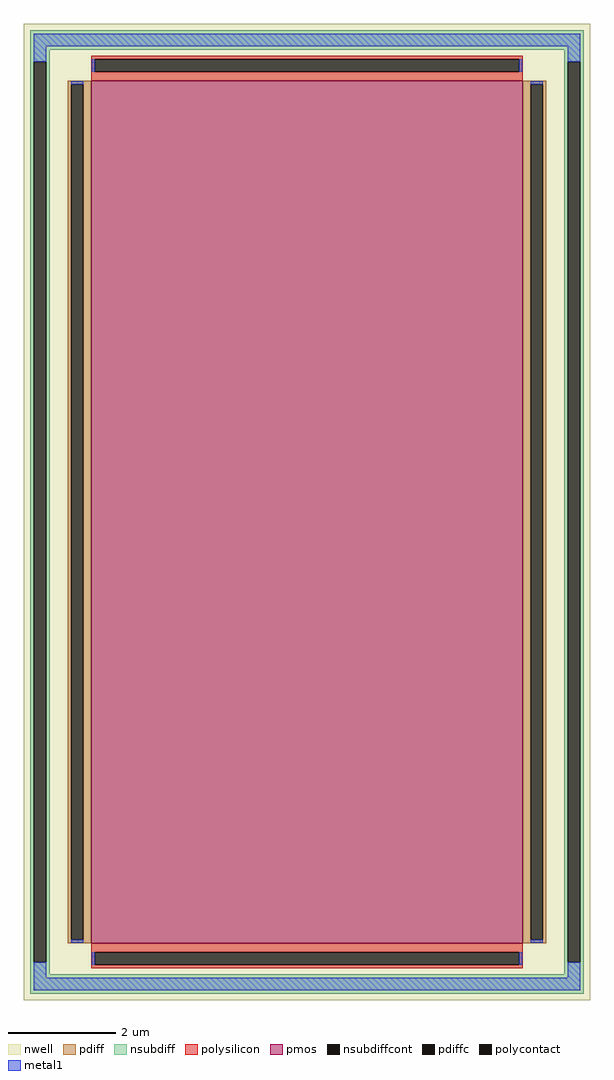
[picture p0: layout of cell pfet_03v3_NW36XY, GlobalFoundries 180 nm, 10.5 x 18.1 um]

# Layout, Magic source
magic
tech gf180mcuD
magscale 1 10
<< nwell >>
rect -1050 -1810 1050 1810
<< pmos >>
rect -800 -1600 800 1600
<< pdiff >>
rect -888 1587 -800 1600
rect -888 -1587 -875 1587
rect -829 -1587 -800 1587
rect -888 -1600 -800 -1587
rect 800 1587 888 1600
rect 800 -1587 829 1587
rect 875 -1587 888 1587
rect 800 -1600 888 -1587
<< pdiffc >>
rect -875 -1587 -829 1587
rect 829 -1587 875 1587
<< nsubdiff >>
rect -1026 1714 1026 1786
rect -1026 1670 -954 1714
rect -1026 -1670 -1013 1670
rect -967 -1670 -954 1670
rect 954 1670 1026 1714
rect -1026 -1714 -954 -1670
rect 954 -1670 967 1670
rect 1013 -1670 1026 1670
rect 954 -1714 1026 -1670
rect -1026 -1786 1026 -1714
<< nsubdiffcont >>
rect -1013 -1670 -967 1670
rect 967 -1670 1013 1670
<< polysilicon >>
rect -800 1679 800 1692
rect -800 1633 -787 1679
rect 787 1633 800 1679
rect -800 1600 800 1633
rect -800 -1633 800 -1600
rect -800 -1679 -787 -1633
rect 787 -1679 800 -1633
rect -800 -1692 800 -1679
<< polycontact >>
rect -787 1633 787 1679
rect -787 -1679 787 -1633
<< metal1 >>
rect -1013 1727 1013 1773
rect -1013 1670 -967 1727
rect -798 1633 -787 1679
rect 787 1633 798 1679
rect 967 1670 1013 1727
rect -875 1587 -829 1598
rect -875 -1598 -829 -1587
rect 829 1587 875 1598
rect 829 -1598 875 -1587
rect -1013 -1727 -967 -1670
rect -798 -1679 -787 -1633
rect 787 -1679 798 -1633
rect 967 -1727 1013 -1670
rect -1013 -1773 1013 -1727
<< properties >>
string FIXED_BBOX -990 -1750 990 1750
string gencell pfet_03v3
string library gf180mcu
string parameters w 16 l 8 m 1 nf 1 diffcov 100 polycov 100 guard 1 glc 1 grc 1 gtc 0 gbc 0 tbcov 100 rlcov 100 topc 1 botc 1 poverlap 0 doverlap 1 lmin 0.28 wmin 0.22 class mosfet full_metal 1 compatible {pfet_03v3 pfet_05v0 pfet_06v0}
<< end >>
